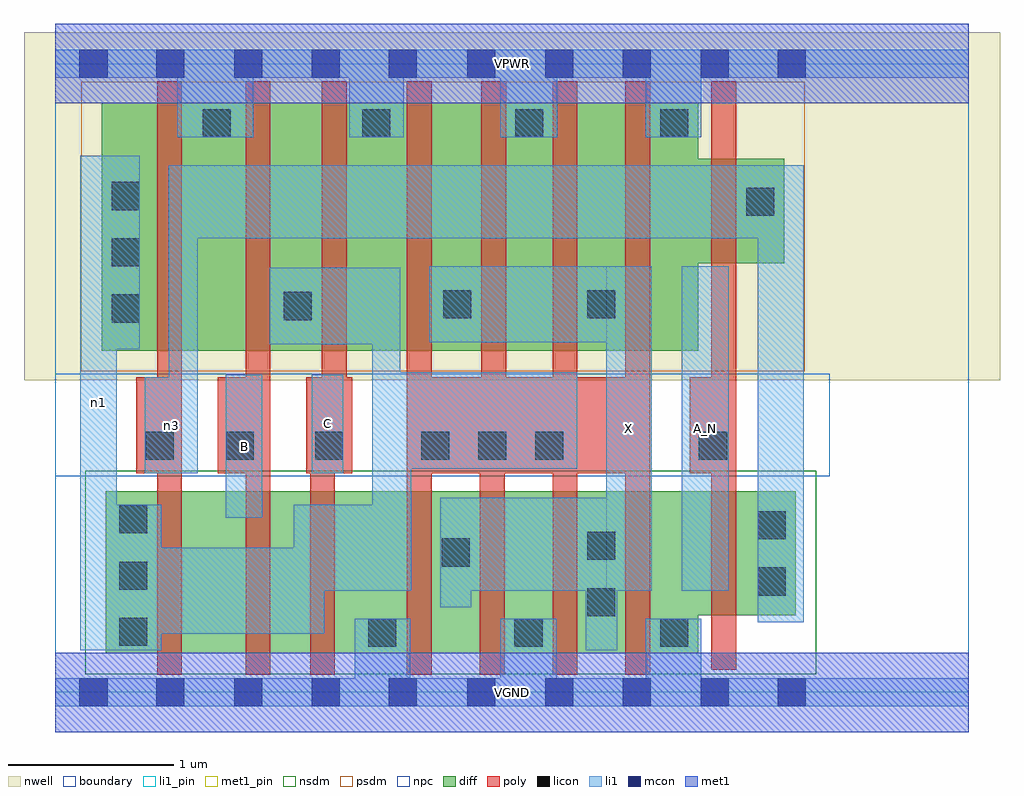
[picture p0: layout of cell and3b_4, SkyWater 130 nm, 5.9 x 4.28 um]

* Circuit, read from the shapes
.subckt and3b_4 A_N B C VGND VPWR X n1 n3
XM1 n2 n3 n1 VSUBS sky130_fd_pr__nfet_01v8 w=0.98 l=0.15
XM2 n4 B n2 VSUBS sky130_fd_pr__nfet_01v8 w=0.98 l=0.15
XM3 VGND C n4 VSUBS sky130_fd_pr__nfet_01v8 w=0.98 l=0.15
XM4 X n1 VGND VSUBS sky130_fd_pr__nfet_01v8 w=0.98 l=0.15 m=4
XM5 n3 A_N VGND VSUBS sky130_fd_pr__nfet_01v8 w=0.75 l=0.15
XM6 VPWR n3 n1 n5 sky130_fd_pr__pfet_01v8 w=1.5 l=0.15
XM7 n1 B VPWR n5 sky130_fd_pr__pfet_01v8 w=1.5 l=0.15
XM8 VPWR C n1 n5 sky130_fd_pr__pfet_01v8 w=1.5 l=0.15
XM9 X n1 VPWR n5 sky130_fd_pr__pfet_01v8 w=1.5 l=0.15 m=4
XM10 n3 A_N VPWR n5 sky130_fd_pr__pfet_01v8 w=0.63 l=0.15
.ends

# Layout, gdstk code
import gdstk
lib = gdstk.Library(unit=1e-6, precision=1e-09)
def R(c, l, rs):  # rectangles x0, y0, x1, y1
    for r in rs: c.add(gdstk.rectangle(r[:2], r[2:], *l))
def A(c, l, x, y, w, h, nx, ny, dx, dy):  # array of equal rectangles
    R(c, l, [(x+i*dx, y+j*dy, x+i*dx+w, y+j*dy+h) for i in range(nx) for j in range(ny)])
nwell = (64, 20)
diff = (65, 20)
poly = (66, 20)
licon = (66, 44)
li1_pin = (67, 16)
li1 = (67, 20)
mcon = (67, 44)
met1_pin = (68, 16)
met1 = (68, 20)
nsdm = (93, 44)
psdm = (94, 20)
npc = (95, 20)
boundary = (235, 4)

and3b_4 = lib.new_cell('and3b_4')
R(and3b_4, nwell, [(-0.19,1.885,5.71,3.99), (0,1.885,5.52,3.99)])
R(and3b_4, diff, [(0.305,0.235,3.885,1.215), (0.305,0.465,4.475,1.215), (0.28,2.065,3.885,3.565), (0.28,2.595,4.405,3.225)])
R(and3b_4, poly, [(0.615,0.105,0.765,3.695), (1.15,0.105,1.3,3.695), (1.54,0.105,1.69,1.905), (2.125,0.105,2.275,3.695), (2.565,0.105,2.715,1.905), (3.005,0.105,3.155,3.695), (3.445,0.105,3.595,3.695), (3.965,0.135,4.115,3.695), (0.49,1.325,0.765,1.905), (0.98,1.325,1.3,1.905), (1.515,1.325,1.795,1.905), (1.61,1.325,1.76,3.695), (2.125,1.325,3.595,1.905), (2.575,1.325,2.725,3.695), (3.835,1.325,4.115,1.905)])
A(and3b_4, licon, 0.385, 0.28, 0.17, 0.17, 1, 3, 0, 0.34)
A(and3b_4, licon, 2.21, 1.405, 0.17, 0.17, 3, 1, 0.345, 0)
A(and3b_4, licon, 0.34, 2.235, 0.17, 0.17, 1, 3, 0, 0.34)
R(and3b_4, licon, [(1.89,0.275,2.06,0.445), (2.775,0.275,2.945,0.445), (3.655,0.275,3.825,0.445), (3.215,0.46,3.385,0.63), (4.245,0.585,4.415,0.755), (2.335,0.76,2.505,0.93), (3.215,0.8,3.385,0.97), (4.245,0.925,4.415,1.095), (0.545,1.405,0.715,1.575), (1.03,1.405,1.2,1.575), (1.57,1.405,1.74,1.575), (3.89,1.405,4.06,1.575), (1.38,2.25,1.55,2.42), (2.345,2.26,2.515,2.43), (3.215,2.26,3.385,2.43), (4.175,2.88,4.345,3.05), (0.89,3.355,1.06,3.525), (1.855,3.355,2.025,3.525), (2.78,3.355,2.95,3.525), (3.655,3.355,3.825,3.525)])
R(and3b_4, li1_pin, [(3.33,0.615,3.605,2.575), (3.785,0.615,4.07,2.575), (1.03,1.055,1.25,1.92), (1.55,1.325,1.74,1.92)])
R(and3b_4, li1, [(0,-0.085,5.52,0.085), (1.81,-0.085,2.145,0.445), (2.69,-0.085,3.03,0.445), (3.57,-0.085,3.905,0.445), (0.15,0.255,0.37,3.245), (0.15,0.255,0.64,1.135), (3.205,0.255,3.395,1.175), (0.15,0.355,1.625,0.875), (1.44,0.355,1.625,1.135), (4.245,0.425,4.525,3.185), (2.325,0.515,2.515,1.175), (1.44,0.615,2.15,1.135), (1.915,0.615,2.085,2.565), (1.915,0.615,2.15,1.935), (2.325,0.615,3.605,1.175), (3.33,0.615,3.605,2.575), (3.785,0.615,4.07,2.575), (1.03,1.055,1.25,1.92), (0.54,1.325,0.86,1.905), (0.685,1.325,0.86,3.185), (1.55,1.325,1.74,1.92), (1.915,1.35,3.155,1.935), (0.15,2.075,0.51,3.245), (1.295,2.105,2.085,2.565), (2.26,2.115,3.605,2.575), (0.685,2.745,4.525,3.185), (0.735,3.355,1.195,3.885), (1.775,3.355,2.105,3.885), (2.69,3.355,3.035,3.885), (3.57,3.355,3.905,3.885), (0,3.715,5.52,3.885)])
A(and3b_4, mcon, 0.61, -0.085, 0.17, 0.17, 3, 2, 0.47, 3.8)
A(and3b_4, mcon, 2.49, -0.085, 0.17, 0.17, 4, 2, 0.47, 3.8)
R(and3b_4, mcon, [(0.145,-0.085,0.315,0.085), (2.015,-0.085,2.185,0.085), (4.365,-0.085,4.535,0.085), (0.145,3.715,0.315,3.885), (2.015,3.715,2.185,3.885), (4.365,3.715,4.535,3.885)])
R(and3b_4, met1_pin, [(0,-0.24,5.52,0.24), (0,3.56,5.52,4.04)])
R(and3b_4, met1, [(0,-0.24,5.52,0.24), (0,3.56,5.52,4.04)])
R(and3b_4, nsdm, [(0.18,0.11,4.6,1.34)])
R(and3b_4, psdm, [(0.155,1.94,4.53,3.69)])
R(and3b_4, npc, [(0,1.305,4.68,1.925)])
R(and3b_4, boundary, [(0,0,5.52,3.8)])
and3b_4.add(gdstk.Label('A_N', (3.927,1.595), layer=67, texttype=5))
and3b_4.add(gdstk.Label('B', (1.14,1.487), layer=67, texttype=5))
and3b_4.add(gdstk.Label('C', (1.645,1.622), layer=67, texttype=5))
and3b_4.add(gdstk.Label('X', (3.467,1.595), layer=67, texttype=5))
and3b_4.add(gdstk.Label('n3', (0.7,1.615), layer=67, texttype=5))
and3b_4.add(gdstk.Label('n1', (0.26,1.75), layer=67, texttype=5))
and3b_4.add(gdstk.Label('VPWR', (2.76,3.8), layer=68, texttype=5))
and3b_4.add(gdstk.Label('VGND', (2.76,0), layer=68, texttype=5))
and3b_4.add(gdstk.Label('A_N', (3.927,1.595), layer=67, texttype=16))
and3b_4.add(gdstk.Label('B', (1.14,1.487), layer=67, texttype=16))
and3b_4.add(gdstk.Label('C', (1.645,1.622), layer=67, texttype=16))
and3b_4.add(gdstk.Label('X', (3.467,1.595), layer=67, texttype=16))
and3b_4.add(gdstk.Label('VPWR', (2.76,3.8), layer=68, texttype=16))
and3b_4.add(gdstk.Label('VGND', (2.76,0), layer=68, texttype=16))

lib.write_gds('and3b_4.gds')
